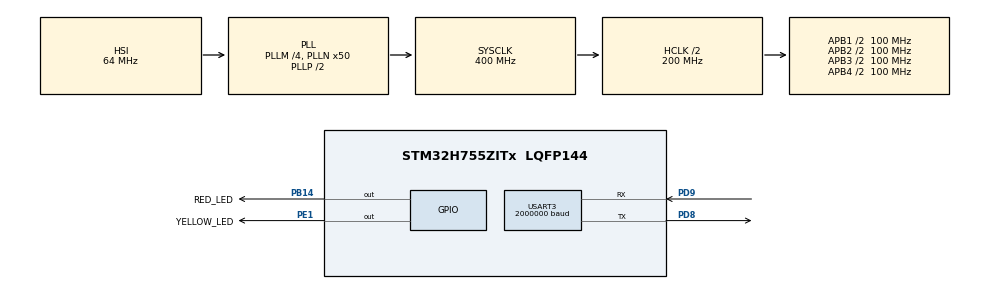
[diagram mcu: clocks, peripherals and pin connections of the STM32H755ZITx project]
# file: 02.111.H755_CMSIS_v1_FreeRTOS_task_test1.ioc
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CortexM4.IPs=FATFS_M4\:I,FREERTOS_M4\:I,IWDG2\:I,RCC,WWDG2\:I,DMA,BDMA,MDMA,NVIC2\:I,ETH,DEBUG,PDM2PCM_M4\:I,PWR,RESMGR_UTILITY,SYS_M4\:I,USB_DEVICE_M4\:I,USB_HOST_M4\:I,CORTEX_M4\:I,GPIO,OPENAMP_M4\:I,VREFBUF,NUCLEO-H755ZI-Q
CortexM7.IPs=FATFS_M7\:I,FREERTOS_M7\:I,IWDG1\:I,RCC\:I,WWDG1\:I,DMA\:I,BDMA\:I,MDMA\:I,NVIC1\:I,ETH\:I,USART3\:I,USB_OTG_FS\:I,SYS\:I,CORTEX_M7\:I,DEBUG\:I,PDM2PCM_M7\:I,PWR\:I,RESMGR_UTILITY\:I,USB_DEVICE_M7\:I,USB_HOST_M7\:I,GPIO\:I,OPENAMP_M7\:I,VREFBUF\:I,NUCLEO-H755ZI-Q\:I,TIM1\:I
CortexM7.Pins=PB14,PE1
Dma.Request0=USART3_TX
Dma.Request1=USART3_RX
Dma.USART3_RX.1.Direction=DMA_PERIPH_TO_MEMORY
Dma.USART3_RX.1.EventEnable=DISABLE
Dma.USART3_RX.1.FIFOMode=DMA_FIFOMODE_DISABLE
Dma.USART3_RX.1.Instance=DMA1_Stream1
Dma.USART3_RX.1.MemDataAlignment=DMA_MDATAALIGN_BYTE
Dma.USART3_RX.1.MemInc=DMA_MINC_ENABLE
Dma.USART3_RX.1.Mode=DMA_CIRCULAR
Dma.USART3_RX.1.PeriphDataAlignment=DMA_PDATAALIGN_BYTE
Dma.USART3_RX.1.PeriphInc=DMA_PINC_DISABLE
Dma.USART3_RX.1.Polarity=HAL_DMAMUX_REQ_GEN_RISING
Dma.USART3_RX.1.Priority=DMA_PRIORITY_LOW
Dma.USART3_RX.1.RequestNumber=1
Dma.USART3_RX.1.SignalID=NONE
Dma.USART3_RX.1.SyncEnable=DISABLE
Dma.USART3_RX.1.SyncPolarity=HAL_DMAMUX_SYNC_NO_EVENT
Dma.USART3_RX.1.SyncRequestNumber=1
Dma.USART3_RX.1.SyncSignalID=NONE
Dma.USART3_TX.0.Direction=DMA_MEMORY_TO_PERIPH
Dma.USART3_TX.0.EventEnable=DISABLE
Dma.USART3_TX.0.FIFOMode=DMA_FIFOMODE_DISABLE
Dma.USART3_TX.0.Instance=DMA1_Stream0
Dma.USART3_TX.0.MemDataAlignment=DMA_MDATAALIGN_BYTE
Dma.USART3_TX.0.MemInc=DMA_MINC_ENABLE
Dma.USART3_TX.0.Mode=DMA_NORMAL
Dma.USART3_TX.0.PeriphDataAlignment=DMA_PDATAALIGN_BYTE
Dma.USART3_TX.0.PeriphInc=DMA_PINC_DISABLE
Dma.USART3_TX.0.Polarity=HAL_DMAMUX_REQ_GEN_RISING
Dma.USART3_TX.0.Priority=DMA_PRIORITY_LOW
Dma.USART3_TX.0.RequestNumber=1
Dma.USART3_TX.0.SignalID=NONE
Dma.USART3_TX.0.SyncEnable=DISABLE
Dma.USART3_TX.0.SyncPolarity=HAL_DMAMUX_SYNC_NO_EVENT
Dma.USART3_TX.0.SyncRequestNumber=1
Dma.USART3_TX.0.SyncSignalID=NONE
FREERTOS_M7.Tasks01=defaultTask,0,512,StartDefaultTask,Default,NULL,Dynamic,NULL,NULL;Task2,0,512,Task2_init,Default,NULL,Dynamic,NULL,NULL
Mcu.Family=STM32H7
Mcu.Name=STM32H755ZITx
Mcu.Package=LQFP144
NVIC1.DMA1_Stream0_IRQn=true\:5\:0\:false\:false\:true\:true\:false\:true\:true
NVIC1.DMA1_Stream1_IRQn=true\:5\:0\:false\:false\:true\:true\:false\:true\:true
NVIC1.PriorityGroup=NVIC_PRIORITYGROUP_4
NVIC1.TIM1_UP_IRQn=true\:15\:0\:false\:false\:true\:false\:false\:true\:true
NVIC1.TimeBase=TIM1_UP_IRQn
NVIC1.TimeBaseIP=TIM1
NVIC1.USART3_IRQn=true\:5\:0\:false\:false\:true\:true\:true\:true\:true
NVIC2.PriorityGroup=NVIC_PRIORITYGROUP_4
PB14.GPIO_Label=RED_LED
PB14.PinAttribute=CortexM7
PB14.Signal=GPIO_Output
PD8.Mode=Asynchronous
PD8.PinAttribute=CortexM7
PD8.Signal=USART3_TX
PD8.TagName=VCP_RX
PD9.Mode=Asynchronous
PD9.PinAttribute=CortexM7
PD9.Signal=USART3_RX
PD9.TagName=VCP_TX
PE1.GPIO_Label=YELLOW_LED
PE1.PinAttribute=CortexM7
PE1.PinState=GPIO_PIN_SET
PE1.Signal=GPIO_Output
ProjectManager.HeapSize=M4-0x200,M7-0x200
ProjectManager.StackSize=M4-0x400,M7-0x400
ProjectManager.TargetToolchain=STM32CubeIDE
RCC.ADCFreq_Value=129000000
RCC.APB1Freq_Value=100000000
RCC.APB2Freq_Value=100000000
RCC.APB3Freq_Value=100000000
RCC.APB4Freq_Value=100000000
RCC.CortexFreq_Value=400000000
RCC.D1PPRE=RCC_APB3_DIV2
RCC.D2PPRE1=RCC_APB1_DIV2
RCC.D2PPRE2=RCC_APB2_DIV2
RCC.D3PPRE=RCC_APB4_DIV2
RCC.DIVM1=4
RCC.DIVN1=50
RCC.DIVQ1=5
RCC.HCLKFreq_Value=200000000
RCC.HPRE=RCC_HCLK_DIV2
RCC.PLL2FRACN=0
RCC.PLL3FRACN=0
RCC.PLLFRACN=0
RCC.SYSCLKFreq_VALUE=400000000
RCC.SYSCLKSource=RCC_SYSCLKSOURCE_PLLCLK
RCC.SupplySource=PWR_DIRECT_SMPS_SUPPLY
RCC.USBFreq_Value=160000000
USART3.BaudRate=2000000
USART3.VirtualMode-Asynchronous=VM_ASYNC
VP_FREERTOS_M7_VS_CMSIS_V1.Mode=CMSIS_V1
VP_SYS_M4_VS_Systick.Mode=SysTick
VP_SYS_VS_tim1.Mode=TIM1
board=NUCLEO-H755ZI-Q

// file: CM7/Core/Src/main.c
/* USER CODE BEGIN Header */
/**
  ******************************************************************************
  * @file           : main.c
  * @brief          : Main program body
  ******************************************************************************
  * @attention
  *
  * Copyright (c) 2026 STMicroelectronics.
  * All rights reserved.
  *
  * This software is licensed under terms that can be found in the LICENSE file
  * in the root directory of this software component.
  * If no LICENSE file comes with this software, it is provided AS-IS.
  *
  ******************************************************************************
  */
/* USER CODE END Header */
#include "main.h"
#include "cmsis_os.h"

/* USER CODE BEGIN Includes */
#include <stdio.h>
#include <string.h>
#include <stddef.h>
#include <stdarg.h>
#include <stdbool.h>
#include <stdlib.h>
#include <stdint.h>
/* USER CODE END Includes */

/* USER CODE BEGIN PD */

/* DUAL_CORE_BOOT_SYNC_SEQUENCE: Define for dual core boot synchronization    */
/*                             demonstration code based on hardware semaphore */
/* This define is present in both CM7/CM4 projects                            */
/* To comment when developping/debugging on a single core                     */
#define DUAL_CORE_BOOT_SYNC_SEQUENCE

#if defined(DUAL_CORE_BOOT_SYNC_SEQUENCE)
#ifndef HSEM_ID_0
#define HSEM_ID_0 (0U) /* HW semaphore 0*/
#endif
#endif /* DUAL_CORE_BOOT_SYNC_SEQUENCE */

/* USER CODE END PD */

UART_HandleTypeDef huart3;
DMA_HandleTypeDef hdma_usart3_tx;
DMA_HandleTypeDef hdma_usart3_rx;

osThreadId defaultTaskHandle;
osThreadId Task2Handle;
osThreadId Task3Handle;

void SystemClock_Config(void);
static void MX_GPIO_Init(void);
static void MX_DMA_Init(void);
static void MX_USART3_UART_Init(void);
void StartDefaultTask(void const * argument);
void Task2_init(void const * argument);

/* USER CODE BEGIN PFP */
void Task3_init(void const * argument);

static uint8_t queue_next(uint8_t idx);
void DebugPrint(const char *format, ...);
void handle_command(const char *cmd);
void check_dma_data(void);

/* USER CODE END PFP */

/* USER CODE BEGIN 0 */
#define DEBUG_QUEUE_SIZE   16
#define DEBUG_MSG_LEN     128

/* ── DMA RX buffer ─────────────────────────────────────── */
#define DMA_RX_BUF_SIZE   256

/* ── TX queue state ────────────────────────────────────── */
// volatile: written in ISR, read in main context
volatile uint8_t  dbg_busy = 0;

uint8_t  dbg_head = 0;
uint8_t  dbg_tail = 0;
char     debug_queue[DEBUG_QUEUE_SIZE][DEBUG_MSG_LEN];
uint16_t debug_queue_len[DEBUG_QUEUE_SIZE];

uint8_t  dma_rx_buffer[DMA_RX_BUF_SIZE];
/* USER CODE END 0 */

int main(void)
{

/* USER CODE BEGIN Boot_Mode_Sequence_0 */
#if defined(DUAL_CORE_BOOT_SYNC_SEQUENCE)
  int32_t timeout;
#endif /* DUAL_CORE_BOOT_SYNC_SEQUENCE */
/* USER CODE END Boot_Mode_Sequence_0 */

/* USER CODE BEGIN Boot_Mode_Sequence_1 */
#if defined(DUAL_CORE_BOOT_SYNC_SEQUENCE)
  /* Wait until CPU2 boots and enters in stop mode or timeout*/
  timeout = 0xFFFF;
  while((__HAL_RCC_GET_FLAG(RCC_FLAG_D2CKRDY) != RESET) && (timeout-- > 0));
  if ( timeout < 0 )
  {
  Error_Handler();
  }
#endif /* DUAL_CORE_BOOT_SYNC_SEQUENCE */
/* USER CODE END Boot_Mode_Sequence_1 */
  /* MCU Configuration--------------------------------------------------------*/

  /* Reset of all peripherals, Initializes the Flash interface and the Systick. */
  HAL_Init();

  /* Configure the system clock */
  SystemClock_Config();
/* USER CODE BEGIN Boot_Mode_Sequence_2 */
#if defined(DUAL_CORE_BOOT_SYNC_SEQUENCE)
/* When system initialization is finished, Cortex-M7 will release Cortex-M4 by means of
HSEM notification */
/*HW semaphore Clock enable*/
__HAL_RCC_HSEM_CLK_ENABLE();
/*Take HSEM */
HAL_HSEM_FastTake(HSEM_ID_0);
/*Release HSEM in order to notify the CPU2(CM4)*/
HAL_HSEM_Release(HSEM_ID_0,0);
/* wait until CPU2 wakes up from stop mode */
timeout = 0xFFFF;
while((__HAL_RCC_GET_FLAG(RCC_FLAG_D2CKRDY) == RESET) && (timeout-- > 0));
if ( timeout < 0 )
{
Error_Handler();
}
#endif /* DUAL_CORE_BOOT_SYNC_SEQUENCE */
/* USER CODE END Boot_Mode_Sequence_2 */

  /* Initialize all configured peripherals */
  MX_GPIO_Init();
  MX_DMA_Init();
  MX_USART3_UART_Init();
  /* USER CODE BEGIN 2 */
  DebugPrint("FreeRTOS kernel start\n\r");
  // Start UART DMA listener
  HAL_UART_Receive_DMA(&huart3, dma_rx_buffer, sizeof(dma_rx_buffer));

  /* USER CODE END 2 */

  /* Create the thread(s) */
  /* definition and creation of defaultTask */
  osThreadDef(defaultTask, StartDefaultTask, osPriorityAboveNormal, 0, 512);
  defaultTaskHandle = osThreadCreate(osThread(defaultTask), NULL);

  /* definition and creation of Task2 */
  osThreadDef(Task2, Task2_init, osPriorityNormal, 0, 512);
  Task2Handle = osThreadCreate(osThread(Task2), NULL);

  /* USER CODE BEGIN RTOS_THREADS */
  /* add threads, ... */
  osThreadDef(Task3, Task3_init, osPriorityBelowNormal, 0, 512);
  Task3Handle = osThreadCreate(osThread(Task3), NULL);
  /* USER CODE END RTOS_THREADS */

  /* Start scheduler */
  osKernelStart();

  /* We should never get here as control is now taken by the scheduler */

  /* Infinite loop */
  while (1)
  {

    /* USER CODE BEGIN 3 */
//	  check_dma_data();

  }
  /* USER CODE END 3 */
}

void SystemClock_Config(void)
{
  RCC_OscInitTypeDef RCC_OscInitStruct = {0};
  RCC_ClkInitTypeDef RCC_ClkInitStruct = {0};

  /** Supply configuration update enable
  */
  HAL_PWREx_ConfigSupply(PWR_DIRECT_SMPS_SUPPLY);

  /** Configure the main internal regulator output voltage
  */
  __HAL_PWR_VOLTAGESCALING_CONFIG(PWR_REGULATOR_VOLTAGE_SCALE1);

  while(!__HAL_PWR_GET_FLAG(PWR_FLAG_VOSRDY)) {}

  /** Initializes the RCC Oscillators according to the specified parameters
  * in the RCC_OscInitTypeDef structure.
  */
  RCC_OscInitStruct.OscillatorType = RCC_OSCILLATORTYPE_HSI;
  RCC_OscInitStruct.HSIState = RCC_HSI_DIV1;
  RCC_OscInitStruct.HSICalibrationValue = RCC_HSICALIBRATION_DEFAULT;
  RCC_OscInitStruct.PLL.PLLState = RCC_PLL_ON;
  RCC_OscInitStruct.PLL.PLLSource = RCC_PLLSOURCE_HSI;
  RCC_OscInitStruct.PLL.PLLM = 4;
  RCC_OscInitStruct.PLL.PLLN = 50;
  RCC_OscInitStruct.PLL.PLLP = 2;
  RCC_OscInitStruct.PLL.PLLQ = 5;
  RCC_OscInitStruct.PLL.PLLR = 2;
  RCC_OscInitStruct.PLL.PLLRGE = RCC_PLL1VCIRANGE_3;
  RCC_OscInitStruct.PLL.PLLVCOSEL = RCC_PLL1VCOWIDE;
  RCC_OscInitStruct.PLL.PLLFRACN = 0;
  if (HAL_RCC_OscConfig(&RCC_OscInitStruct) != HAL_OK)
  {
    Error_Handler();
  }

  /** Initializes the CPU, AHB and APB buses clocks
  */
  RCC_ClkInitStruct.ClockType = RCC_CLOCKTYPE_HCLK|RCC_CLOCKTYPE_SYSCLK
                              |RCC_CLOCKTYPE_PCLK1|RCC_CLOCKTYPE_PCLK2
                              |RCC_CLOCKTYPE_D3PCLK1|RCC_CLOCKTYPE_D1PCLK1;
  RCC_ClkInitStruct.SYSCLKSource = RCC_SYSCLKSOURCE_PLLCLK;
  RCC_ClkInitStruct.SYSCLKDivider = RCC_SYSCLK_DIV1;
  RCC_ClkInitStruct.AHBCLKDivider = RCC_HCLK_DIV2;
  RCC_ClkInitStruct.APB3CLKDivider = RCC_APB3_DIV2;
  RCC_ClkInitStruct.APB1CLKDivider = RCC_APB1_DIV2;
  RCC_ClkInitStruct.APB2CLKDivider = RCC_APB2_DIV2;
  RCC_ClkInitStruct.APB4CLKDivider = RCC_APB4_DIV2;

  if (HAL_RCC_ClockConfig(&RCC_ClkInitStruct, FLASH_LATENCY_2) != HAL_OK)
  {
    Error_Handler();
  }
}

static void MX_USART3_UART_Init(void)
{

  huart3.Instance = USART3;
  huart3.Init.BaudRate = 2000000;
  huart3.Init.WordLength = UART_WORDLENGTH_8B;
  huart3.Init.StopBits = UART_STOPBITS_1;
  huart3.Init.Parity = UART_PARITY_NONE;
  huart3.Init.Mode = UART_MODE_TX_RX;
  huart3.Init.HwFlowCtl = UART_HWCONTROL_NONE;
  huart3.Init.OverSampling = UART_OVERSAMPLING_16;
  huart3.Init.OneBitSampling = UART_ONE_BIT_SAMPLE_DISABLE;
  huart3.Init.ClockPrescaler = UART_PRESCALER_DIV1;
  huart3.AdvancedInit.AdvFeatureInit = UART_ADVFEATURE_NO_INIT;
  if (HAL_UART_Init(&huart3) != HAL_OK)
  {
    Error_Handler();
  }
  if (HAL_UARTEx_SetTxFifoThreshold(&huart3, UART_TXFIFO_THRESHOLD_1_8) != HAL_OK)
  {
    Error_Handler();
  }
  if (HAL_UARTEx_SetRxFifoThreshold(&huart3, UART_RXFIFO_THRESHOLD_1_8) != HAL_OK)
  {
    Error_Handler();
  }
  if (HAL_UARTEx_DisableFifoMode(&huart3) != HAL_OK)
  {
    Error_Handler();
  }

}

static void MX_DMA_Init(void)
{

  /* DMA controller clock enable */
  __HAL_RCC_DMA1_CLK_ENABLE();

  /* DMA interrupt init */
  /* DMA1_Stream0_IRQn interrupt configuration */
  HAL_NVIC_SetPriority(DMA1_Stream0_IRQn, 5, 0);
  HAL_NVIC_EnableIRQ(DMA1_Stream0_IRQn);
  /* DMA1_Stream1_IRQn interrupt configuration */
  HAL_NVIC_SetPriority(DMA1_Stream1_IRQn, 5, 0);
  HAL_NVIC_EnableIRQ(DMA1_Stream1_IRQn);

}

static void MX_GPIO_Init(void)
{
  GPIO_InitTypeDef GPIO_InitStruct = {0};

  /* GPIO Ports Clock Enable */
  __HAL_RCC_GPIOB_CLK_ENABLE();
  __HAL_RCC_GPIOD_CLK_ENABLE();
  __HAL_RCC_GPIOE_CLK_ENABLE();

  /*Configure GPIO pin Output Level */
  HAL_GPIO_WritePin(RED_LED_GPIO_Port, RED_LED_Pin, GPIO_PIN_RESET);

  /*Configure GPIO pin Output Level */
  HAL_GPIO_WritePin(YELLOW_LED_GPIO_Port, YELLOW_LED_Pin, GPIO_PIN_SET);

  /*Configure GPIO pin : RED_LED_Pin */
  GPIO_InitStruct.Pin = RED_LED_Pin;
  GPIO_InitStruct.Mode = GPIO_MODE_OUTPUT_PP;
  GPIO_InitStruct.Pull = GPIO_NOPULL;
  GPIO_InitStruct.Speed = GPIO_SPEED_FREQ_LOW;
  HAL_GPIO_Init(RED_LED_GPIO_Port, &GPIO_InitStruct);

  /*Configure GPIO pin : YELLOW_LED_Pin */
  GPIO_InitStruct.Pin = YELLOW_LED_Pin;
  GPIO_InitStruct.Mode = GPIO_MODE_OUTPUT_PP;
  GPIO_InitStruct.Pull = GPIO_NOPULL;
  GPIO_InitStruct.Speed = GPIO_SPEED_FREQ_LOW;
  HAL_GPIO_Init(YELLOW_LED_GPIO_Port, &GPIO_InitStruct);

}

/* USER CODE BEGIN 4 */

/* ── Internal helpers ──────────────────────────────────── */
static uint8_t queue_next(uint8_t idx)
{
    return (idx + 1) % DEBUG_QUEUE_SIZE;
}

/* ── DebugPrint ────────────────────────────────────────── */
void DebugPrint(const char *format, ...)
{
    uint8_t next = queue_next(dbg_head);

    if (next == dbg_tail)
        return;

    va_list args;
    va_start(args, format);

    int len = vsnprintf(debug_queue[dbg_head],DEBUG_MSG_LEN, format, args);
    debug_queue_len[dbg_head] = (len > 0) ? (uint16_t)len : 0;

    va_end(args);

    dbg_head = next;

    uint32_t primask = __get_PRIMASK();
    __disable_irq();
    if (!dbg_busy)
    {
        dbg_busy = 1;
        __set_PRIMASK(primask);
        HAL_UART_Transmit_DMA(
            &huart3,
            (uint8_t *)debug_queue[dbg_tail],
            debug_queue_len[dbg_tail]
        );
    }
    else
    {
        __set_PRIMASK(primask);
    }

}

void handle_command(const char *cmd)
{
    if (strcmp(cmd, "start") == 0)
    {
        DebugPrint("CMD OK: Injection started\r\n");

//        // Inject event into UI task
//        Q_Post(&sys.ui.q, (Event_t){ .sig = SIG_UI_START_PRESSED, .param = 0 });
    }
    else if (strcmp(cmd, "stop") == 0)
    {
        DebugPrint("CMD OK: Injection stopped\r\n");

//        // Inject event into UI task
//        Q_Post(&sys.ui.q, (Event_t){ .sig = SIG_UI_STOP_PRESSED, .param = 0 });
    }
    else if (strcmp(cmd, "post") == 0 || strcmp(cmd, "POST") == 0)
    {
        DebugPrint("CMD OK: LOGO is touched to shift POST\r\n");

//        // Inject event into UI task
//        Q_Post(&g_ui.q, (Event_t){ .sig = SIG_UI_LOGO_TO_POST, .param = 0 });
    }
    else
    {
        DebugPrint("Unknown command: %s\r\n", cmd);
    }
}

void check_dma_data(void)
{
    static uint16_t old_pos = 0;
    uint16_t pos =
        sizeof(dma_rx_buffer) - __HAL_DMA_GET_COUNTER(&hdma_usart3_rx);

    static char cmd_buf[64];
    static uint8_t cmd_len = 0;

    if (pos == old_pos)
        return;

    while (old_pos != pos)
    {
        char c = dma_rx_buffer[old_pos++];
        if (old_pos >= sizeof(dma_rx_buffer))
            old_pos = 0;

        // Line termination
        if (c == '\r' || c == '\n')
        {
            if (cmd_len > 0)
            {
                cmd_buf[cmd_len] = '\0';
                handle_command(cmd_buf);
                cmd_len = 0;
            }
        }
        else
        {
            if (cmd_len < sizeof(cmd_buf) - 1)
            {
                cmd_buf[cmd_len++] = c;
            }
        }
    }
}

/* ── TxCplt callback ───────────────────────────────────── */
void Debug_TxCpltCallback(void)
{
    dbg_tail = queue_next(dbg_tail);

    if (dbg_tail != dbg_head)
    {
        /* More messages pending — start next transfer */

        HAL_UART_Transmit_DMA(
            &huart3,
            (uint8_t *)debug_queue[dbg_tail],
            debug_queue_len[dbg_tail]
        );

    }
    else
    {
        dbg_busy = 0;
    }
}

void HAL_UART_TxCpltCallback(UART_HandleTypeDef *huart)
{

    if (huart->Instance == USART3)
    {
    	Debug_TxCpltCallback();
    }

}

void Task3_init(void const * argument)
{
  /* USER CODE BEGIN Task2_init */
  /* Infinite loop */
  for(;;)
  {
    DebugPrint("Hello from Task3\n\r");
//	HAL_GPIO_TogglePin(YELLOW_LED_GPIO_Port, YELLOW_LED_Pin);
    osDelay(1000);
  }
  /* USER CODE END Task2_init */
}

/* USER CODE END 4 */

void StartDefaultTask(void const * argument)
{
  /* USER CODE BEGIN 5 */
  /* Infinite loop */
  for(;;)
  {
	DebugPrint("Hello from Default\n\r");
//	HAL_GPIO_TogglePin(RED_LED_GPIO_Port, RED_LED_Pin);
    osDelay(1000);
  }
  /* USER CODE END 5 */
}

void Task2_init(void const * argument)
{
  /* USER CODE BEGIN Task2_init */
  /* Infinite loop */
  for(;;)
  {
    DebugPrint("Hello from Task2\n\r");
//	HAL_GPIO_TogglePin(YELLOW_LED_GPIO_Port, YELLOW_LED_Pin);
    osDelay(1000);
  }
  /* USER CODE END Task2_init */
}

void HAL_TIM_PeriodElapsedCallback(TIM_HandleTypeDef *htim)
{
  if (htim->Instance == TIM1)
  {
    HAL_IncTick();
  }
}

void Error_Handler(void)
{
  __disable_irq();
  while (1)
  {
  }
}
